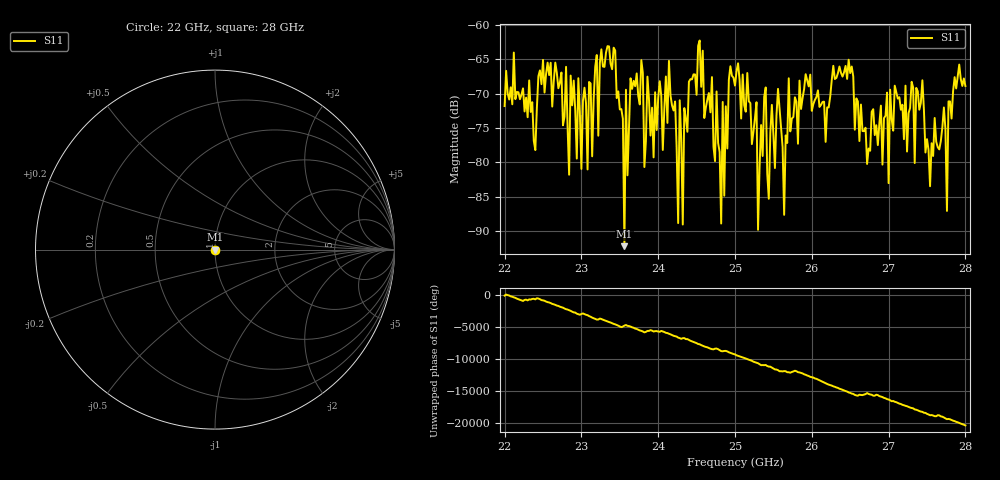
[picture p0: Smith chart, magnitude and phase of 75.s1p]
#  HZ  S  RI  R  50.00
! Rohde & Schwarz ZVA40 4Ports - Version 3.90 - 1145.1110k42 SN: 100403
! Date: 2023-10-04 07:48:27
! Measurement: S12
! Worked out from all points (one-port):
!   301 points, 22 GHz to 28 GHz, reference 50 ohm
!   lowest |S11| = -92.2 dB at 23.56 GHz (marker M1), VSWR 1.00, Z = 50 - j0.00206 ohm
!   |S11| at or under -10 dB: start of sweep to end of sweep
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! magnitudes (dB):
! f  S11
! 22 GHz  -71.8
! 22.76 GHz  -74.6
! 22.9 GHz  -68.1
! 22.94 GHz  -79.4
! 22.96 GHz  -67.7
! 23.08 GHz  -81.0
! 23.12 GHz  -68.5
! 23.14 GHz  -79.1
! 23.2 GHz  -64.4
! 23.22 GHz  -76.1
! 23.34 GHz  -63.1
! 23.5 GHz  -72.3
! 23.56 GHz  -92.2
! 23.78 GHz  -65.1
! 23.82 GHz  -80.7
! 23.86 GHz  -67.5
! 23.94 GHz  -79.3
! 24.14 GHz  -65.2
! 24.26 GHz  -88.8
! 24.54 GHz  -62.2
! 24.74 GHz  -79.8
! 25 GHz  -68.8
! 25.76 GHz  -73.4
! 26.5 GHz  -67.0
! 26.72 GHz  -80.2
! 27.26 GHz  -72.8
! 27.76 GHz  -87.1
! 28 GHz  -68.9
